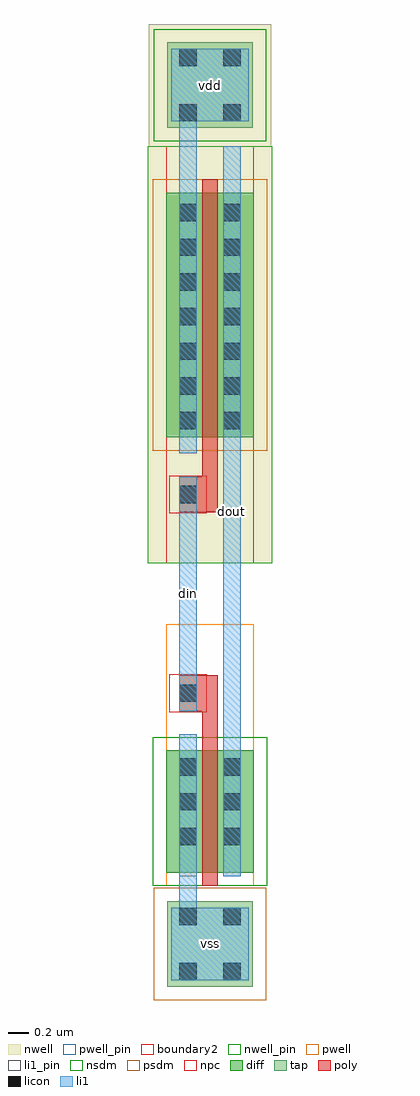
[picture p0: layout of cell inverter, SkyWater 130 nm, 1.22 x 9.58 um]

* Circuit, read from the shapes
.subckt inverter din dout vdd vss
XM1 dout din vss vss sky130_fd_pr__nfet_01v8 w=1.2 l=0.15
XM2 dout din vdd vdd sky130_fd_pr__pfet_01v8 w=2.4 l=0.15
.ends

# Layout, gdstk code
import gdstk
lib = gdstk.Library(unit=1e-6, precision=1e-09)
def R(c, l, rs):  # rectangles x0, y0, x1, y1
    for r in rs: c.add(gdstk.rectangle(r[:2], r[2:], *l))
def A(c, l, x, y, w, h, nx, ny, dx, dy):  # array of equal rectangles
    R(c, l, [(x+i*dx, y+j*dy, x+i*dx+w, y+j*dy+h) for i in range(nx) for j in range(ny)])
nwell_pin = (64, 16)
nwell = (64, 20)
pwell = (64, 44)
diff = (65, 20)
tap = (65, 44)
poly = (66, 20)
licon = (66, 44)
li1_pin = (67, 16)
li1 = (67, 20)
nsdm = (93, 44)
psdm = (94, 20)
npc = (95, 20)
pwell_pin = (122, 16)
boundary2 = (236, 0)

ntap_tile_x2_y2 = lib.new_cell('ntap_tile_x2_y2')
R(ntap_tile_x2_y2, nwell, [(-0.385,-0.33,0.815,0.87)])
R(ntap_tile_x2_y2, tap, [(-0.205,-0.15,0.635,0.69)])
R(ntap_tile_x2_y2, licon, [(-0.085,-0.085,0.085,0.085), (0.345,-0.085,0.515,0.085), (-0.085,0.455,0.085,0.625), (0.345,0.455,0.515,0.625)])
R(ntap_tile_x2_y2, li1_pin, [(-0.165,-0.085,0.595,0.625)])
R(ntap_tile_x2_y2, li1, [(-0.165,-0.085,0.595,0.625), (-0.165,-0.085,0.595,0.625)])
R(ntap_tile_x2_y2, nsdm, [(-0.335,-0.28,0.765,0.82)])
R(ntap_tile_x2_y2, boundary2, [(-0.205,-0.15,0.635,0.69)])
ntap_tile_x2_y2.add(gdstk.Label('vpb', (0.215,0.27), layer=67, texttype=16))
ntap_tile_x2_y2.add(gdstk.Label('vpb', (0.215,0.27), layer=67, texttype=5))

ptap_tile_x2_y2 = lib.new_cell('ptap_tile_x2_y2')
R(ptap_tile_x2_y2, tap, [(-0.205,-0.15,0.635,0.69)])
R(ptap_tile_x2_y2, licon, [(-0.085,-0.085,0.085,0.085), (0.345,-0.085,0.515,0.085), (-0.085,0.455,0.085,0.625), (0.345,0.455,0.515,0.625)])
R(ptap_tile_x2_y2, li1_pin, [(-0.165,-0.085,0.595,0.625)])
R(ptap_tile_x2_y2, li1, [(-0.165,-0.085,0.595,0.625), (-0.165,-0.085,0.595,0.625)])
R(ptap_tile_x2_y2, psdm, [(-0.335,-0.28,0.765,0.82)])
R(ptap_tile_x2_y2, boundary2, [(-0.205,-0.15,0.635,0.69)])
ptap_tile_x2_y2.add(gdstk.Label('vnb', (0.215,0.27), layer=67, texttype=16))
ptap_tile_x2_y2.add(gdstk.Label('vnb', (0.215,0.27), layer=67, texttype=5))

nmos_tile_w1200_l150_nf1 = lib.new_cell('nmos_tile_w1200_l150_nf1')
R(nmos_tile_w1200_l150_nf1, pwell, [(0.215,-1.235,1.075,1.33)])
R(nmos_tile_w1200_l150_nf1, diff, [(0.215,0,1.075,1.2)])
R(nmos_tile_w1200_l150_nf1, poly, [(0.345,-0.735,0.72,-0.385), (0.57,-0.735,0.72,1.33)])
A(nmos_tile_w1200_l150_nf1, licon, 0.345, 0.08, 0.17, 0.17, 1, 3, 0, 0.34)
A(nmos_tile_w1200_l150_nf1, licon, 0.775, 0.08, 0.17, 0.17, 1, 3, 0, 0.34)
R(nmos_tile_w1200_l150_nf1, licon, [(0.345,-0.645,0.515,-0.475)])
R(nmos_tile_w1200_l150_nf1, li1_pin, [(0.345,-1.235,0.515,-0.385), (0.345,-0.155,0.515,1.235), (0.775,-0.155,0.945,1.235)])
R(nmos_tile_w1200_l150_nf1, li1, [(0.345,-1.235,0.515,-0.385), (0.345,-0.155,0.515,1.235), (0.775,-0.155,0.945,1.235)])
R(nmos_tile_w1200_l150_nf1, nsdm, [(0.085,-0.13,1.205,1.33)])
R(nmos_tile_w1200_l150_nf1, npc, [(0.245,-0.745,0.615,-0.375)])
R(nmos_tile_w1200_l150_nf1, pwell_pin, [(0.215,-1.235,1.075,1.33)])
R(nmos_tile_w1200_l150_nf1, boundary2, [(0.215,-1.235,1.075,1.33)])
nmos_tile_w1200_l150_nf1.add(gdstk.Label('sd_0', (0.43,0.54), layer=67, texttype=16))
nmos_tile_w1200_l150_nf1.add(gdstk.Label('sd_1', (0.86,0.54), layer=67, texttype=16))
nmos_tile_w1200_l150_nf1.add(gdstk.Label('g_0', (0.43,-0.81), layer=67, texttype=16))
nmos_tile_w1200_l150_nf1.add(gdstk.Label('sd_0', (0.43,0.54), layer=67, texttype=5))
nmos_tile_w1200_l150_nf1.add(gdstk.Label('sd_1', (0.86,0.54), layer=67, texttype=5))
nmos_tile_w1200_l150_nf1.add(gdstk.Label('g_0', (0.43,-0.81), layer=67, texttype=5))
nmos_tile_w1200_l150_nf1.add(gdstk.Label('b', (0.645,0.047), layer=122, texttype=16))
nmos_tile_w1200_l150_nf1.add(gdstk.Label('b', (0.645,0.047), layer=64, texttype=59))

pmos_tile_w2400_l150_nf1 = lib.new_cell('pmos_tile_w2400_l150_nf1')
R(pmos_tile_w2400_l150_nf1, nwell_pin, [(0.035,-1.235,1.255,2.855)])
R(pmos_tile_w2400_l150_nf1, nwell, [(0.035,-1.235,1.255,2.855)])
R(pmos_tile_w2400_l150_nf1, diff, [(0.215,0,1.075,2.4)])
R(pmos_tile_w2400_l150_nf1, poly, [(0.345,-0.735,0.72,-0.385), (0.57,-0.735,0.72,2.53)])
A(pmos_tile_w2400_l150_nf1, licon, 0.345, 0.08, 0.17, 0.17, 1, 7, 0, 0.34)
A(pmos_tile_w2400_l150_nf1, licon, 0.775, 0.08, 0.17, 0.17, 1, 7, 0, 0.34)
R(pmos_tile_w2400_l150_nf1, licon, [(0.345,-0.645,0.515,-0.475)])
R(pmos_tile_w2400_l150_nf1, li1_pin, [(0.345,-1.235,0.515,-0.385), (0.345,-0.155,0.515,2.855), (0.775,-0.155,0.945,2.855)])
R(pmos_tile_w2400_l150_nf1, li1, [(0.345,-1.235,0.515,-0.385), (0.345,-0.155,0.515,2.855), (0.775,-0.155,0.945,2.855)])
R(pmos_tile_w2400_l150_nf1, psdm, [(0.085,-0.13,1.205,2.53)])
R(pmos_tile_w2400_l150_nf1, npc, [(0.245,-0.745,0.615,-0.375)])
R(pmos_tile_w2400_l150_nf1, boundary2, [(0.215,-1.235,1.075,2.855)])
pmos_tile_w2400_l150_nf1.add(gdstk.Label('sd_0', (0.43,1.35), layer=67, texttype=16))
pmos_tile_w2400_l150_nf1.add(gdstk.Label('sd_1', (0.86,1.35), layer=67, texttype=16))
pmos_tile_w2400_l150_nf1.add(gdstk.Label('g_0', (0.43,-0.81), layer=67, texttype=16))
pmos_tile_w2400_l150_nf1.add(gdstk.Label('sd_0', (0.43,1.35), layer=67, texttype=5))
pmos_tile_w2400_l150_nf1.add(gdstk.Label('sd_1', (0.86,1.35), layer=67, texttype=5))
pmos_tile_w2400_l150_nf1.add(gdstk.Label('g_0', (0.43,-0.81), layer=67, texttype=5))
pmos_tile_w2400_l150_nf1.add(gdstk.Label('b', (0.645,0.81), layer=64, texttype=16))
pmos_tile_w2400_l150_nf1.add(gdstk.Label('b', (0.645,0.81), layer=64, texttype=5))

inverter = lib.new_cell('inverter')
R(inverter, li1_pin, [(0.265,-2.255,1.025,-1.545), (0.775,-1.235,0.945,5.925), (0.345,0.385,0.515,2.685), (0.265,6.17,1.025,6.88)])
R(inverter, li1, [(0.345,-2.255,0.515,0.155), (0.775,-1.235,0.945,5.925), (0.345,0.385,0.515,2.685), (0.345,2.915,0.515,6.88)])
inverter.add(gdstk.Reference(ntap_tile_x2_y2, (0.43,6.255)))
inverter.add(gdstk.Reference(ptap_tile_x2_y2, (0.43,-2.17)))
inverter.add(gdstk.Reference(nmos_tile_w1200_l150_nf1, (0,0), x_reflection=True))
inverter.add(gdstk.Reference(pmos_tile_w2400_l150_nf1, (0,3.07)))
inverter.add(gdstk.Label('vdd', (0.645,6.525), layer=67, texttype=16))
inverter.add(gdstk.Label('vss', (0.645,-1.9), layer=67, texttype=16))
inverter.add(gdstk.Label('din', (0.43,1.535), layer=67, texttype=16))
inverter.add(gdstk.Label('dout', (0.86,2.345), layer=67, texttype=16))
inverter.add(gdstk.Label('vdd', (0.645,6.525), layer=67, texttype=5))
inverter.add(gdstk.Label('vss', (0.645,-1.9), layer=67, texttype=5))
inverter.add(gdstk.Label('din', (0.43,1.535), layer=67, texttype=5))
inverter.add(gdstk.Label('dout', (0.86,2.345), layer=67, texttype=5))

lib.write_gds('inverter.gds')
